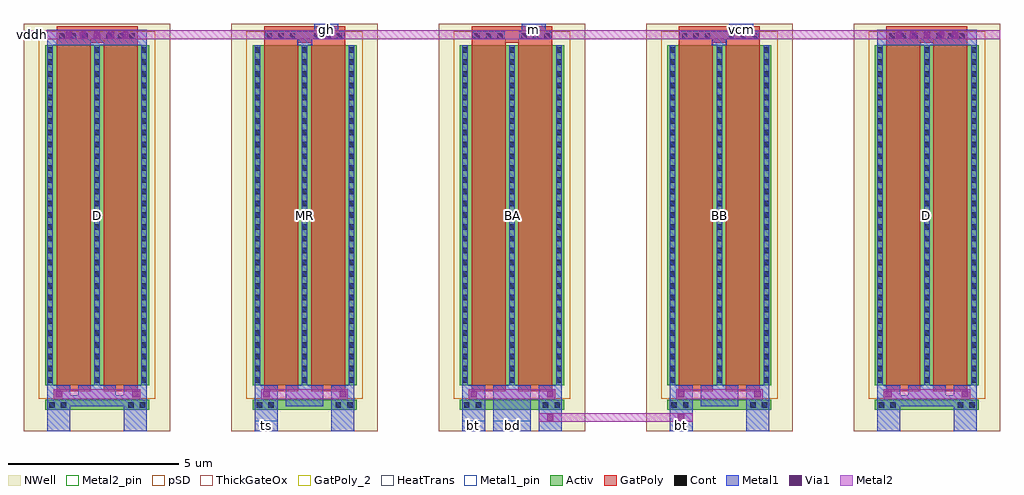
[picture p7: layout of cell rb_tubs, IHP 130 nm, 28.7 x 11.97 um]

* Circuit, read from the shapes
.subckt rb_tubs bd bt gh m ts vcm vddh
XM1 vddh vddh vddh vddh sg13_hv_pmos w=10u l=1u m=4
XM2 gh gh ts ts sg13_hv_pmos w=10u l=1u m=2
XM3 bd m bt bt sg13_hv_pmos w=10u l=1u m=2
XM4 vcm vcm bt bt sg13_hv_pmos w=10u l=1u m=2
.ends

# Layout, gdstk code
import gdstk
lib = gdstk.Library(unit=1e-6, precision=1e-09)
def R(c, l, rs):  # rectangles x0, y0, x1, y1
    for r in rs: c.add(gdstk.rectangle(r[:2], r[2:], *l))
def A(c, l, x, y, w, h, nx, ny, dx, dy):  # array of equal rectangles
    R(c, l, [(x+i*dx, y+j*dy, x+i*dx+w, y+j*dy+h) for i in range(nx) for j in range(ny)])
Activ = (1, 0)
GatPoly = (5, 0)
GatPoly_2 = (5, 2)
Cont = (6, 0)
Metal1 = (8, 0)
Metal1_pin = (8, 2)
Metal2 = (10, 0)
Metal2_pin = (10, 2)
pSD = (14, 0)
Via1 = (19, 0)
NWell = (31, 0)
ThickGateOx = (44, 0)
HeatTrans = (51, 0)

rb_pmoshv_w20_l1_ng2 = lib.new_cell('rb_pmosHV_w20_l1_ng2')
A(rb_pmoshv_w20_l1_ng2, Activ, 0, 0, 0.3, 0.3, 3, 1, 1.38, 0)
R(rb_pmoshv_w20_l1_ng2, Activ, [(0,0,3.06,10)])
R(rb_pmoshv_w20_l1_ng2, GatPoly, [(0.34,-0.18,1.34,10.18), (1.72,-0.18,2.72,10.18)])
R(rb_pmoshv_w20_l1_ng2, GatPoly_2, [(0.34,-0.18,1.34,10.18)])
A(rb_pmoshv_w20_l1_ng2, Cont, 0.07, 0.07, 0.16, 0.16, 3, 4, 1.38, 0.345)
A(rb_pmoshv_w20_l1_ng2, Cont, 0.07, 1.455, 0.16, 0.16, 3, 3, 1.38, 0.345)
A(rb_pmoshv_w20_l1_ng2, Cont, 0.07, 2.495, 0.16, 0.16, 3, 4, 1.38, 0.345)
A(rb_pmoshv_w20_l1_ng2, Cont, 0.07, 3.88, 0.16, 0.16, 3, 3, 1.38, 0.345)
A(rb_pmoshv_w20_l1_ng2, Cont, 0.07, 4.92, 0.16, 0.16, 3, 4, 1.38, 0.345)
A(rb_pmoshv_w20_l1_ng2, Cont, 0.07, 6.305, 0.16, 0.16, 3, 3, 1.38, 0.345)
A(rb_pmoshv_w20_l1_ng2, Cont, 0.07, 7.345, 0.16, 0.16, 3, 4, 1.38, 0.345)
A(rb_pmoshv_w20_l1_ng2, Cont, 0.07, 8.73, 0.16, 0.16, 3, 3, 1.38, 0.345)
A(rb_pmoshv_w20_l1_ng2, Cont, 0.07, 9.77, 0.16, 0.16, 3, 1, 1.38, 0)
A(rb_pmoshv_w20_l1_ng2, Metal1, 0.07, 0, 0.16, 10, 3, 1, 1.38, 0)
R(rb_pmoshv_w20_l1_ng2, Metal1_pin, [(0.07,0,0.23,10), (1.45,0,1.61,10)])
R(rb_pmoshv_w20_l1_ng2, pSD, [(-0.18,-0.4,3.24,10.4)])
R(rb_pmoshv_w20_l1_ng2, NWell, [(-0.62,-0.62,3.68,10.62)])
R(rb_pmoshv_w20_l1_ng2, ThickGateOx, [(-0.62,-0.62,3.68,10.62)])
R(rb_pmoshv_w20_l1_ng2, HeatTrans, [(0.34,-0.18,1.34,10.18), (1.72,-0.18,2.72,10.18)])
rb_pmoshv_w20_l1_ng2.add(gdstk.Label('pmosHV', (0.84,5), layer=63, texttype=0))
rb_pmoshv_w20_l1_ng2.add(gdstk.Label('pmos', (0.84,5), layer=51, texttype=0))
rb_pmoshv_w20_l1_ng2.add(gdstk.Label('pmos', (2.22,5), layer=51, texttype=0))

rb_tub_p20x1 = lib.new_cell('rb_tub_p20x1')
R(rb_tub_p20x1, Activ, [(0,-0.73,3.06,-0.43)])
R(rb_tub_p20x1, GatPoly, [(0.34,10,1.34,10.56), (1.72,10,2.72,10.56), (1.34,10.07,1.72,10.56)])
A(rb_tub_p20x1, Cont, 0.42, 10.18, 0.16, 0.16, 3, 1, 0.34, 0)
A(rb_tub_p20x1, Cont, 1.8, 10.18, 0.16, 0.16, 3, 1, 0.34, 0)
R(rb_tub_p20x1, Cont, [(0.12,-0.66,0.28,-0.5), (0.46,-0.66,0.62,-0.5), (2.44,-0.66,2.6,-0.5), (2.78,-0.66,2.94,-0.5)])
R(rb_tub_p20x1, Metal1, [(0.07,-1.35,0.74,0), (2.32,-1.35,2.99,0), (0.975,-0.62,2.085,0), (0.37,10.18,1.31,10.4), (1.75,10.18,2.69,10.4)])
R(rb_tub_p20x1, Metal2, [(0.26,-0.41,2.8,-0.12)])
R(rb_tub_p20x1, Via1, [(0.31,-0.36,0.5,-0.17), (2.56,-0.36,2.75,-0.17)])
R(rb_tub_p20x1, NWell, [(-0.62,-1.35,3.68,10.62)])
R(rb_tub_p20x1, ThickGateOx, [(-0.62,-1.35,3.68,10.62)])
rb_tub_p20x1.add(gdstk.Reference(rb_pmoshv_w20_l1_ng2, (0,0)))

rb_tubs = lib.new_cell('rb_tubs')
A(rb_tubs, Metal1, 8.54, 11.53, 0.7, 0.44, 3, 1, 6.1, 0)
R(rb_tubs, Metal1, [(13.795,0,14.905,0.73), (0.69,0.73,3.61,1.05), (25.09,0.73,28.01,1.05), (0.69,11.35,3.61,11.795), (8.03,11.35,8.47,11.75), (20.23,11.35,20.67,11.75), (25.09,11.35,28.01,11.795)])
A(rb_tubs, Metal1_pin, 6.79, 0, 0.67, 0.3, 3, 1, 6.1, 0)
A(rb_tubs, Metal1_pin, 8.54, 11.67, 0.7, 0.3, 3, 1, 6.1, 0)
R(rb_tubs, Metal1_pin, [(13.795,0,14.905,0.3)])
R(rb_tubs, Metal2, [(15.14,0.27,19.66,0.53), (0,11.52,28.7,11.78)])
R(rb_tubs, Metal2_pin, [(0,11.52,0.5,11.78)])
A(rb_tubs, Via1, 1.235, 11.555, 0.19, 0.19, 5, 1, 0.41, 0)
A(rb_tubs, Via1, 25.635, 11.555, 0.19, 0.19, 5, 1, 0.41, 0)
R(rb_tubs, Via1, [(15.38,0.305,15.57,0.495), (19.23,0.305,19.42,0.495)])
rb_tubs.add(gdstk.Reference(rb_tub_p20x1, (0.62,1.35)))
rb_tubs.add(gdstk.Reference(rb_tub_p20x1, (6.72,1.35)))
rb_tubs.add(gdstk.Reference(rb_tub_p20x1, (12.82,1.35)))
rb_tubs.add(gdstk.Reference(rb_tub_p20x1, (18.92,1.35)))
rb_tubs.add(gdstk.Reference(rb_tub_p20x1, (25.02,1.35)))
rb_tubs.add(gdstk.Label('D', (2.15,6.35), layer=63, texttype=0))
rb_tubs.add(gdstk.Label('MR', (8.25,6.35), layer=63, texttype=0))
rb_tubs.add(gdstk.Label('BA', (14.35,6.35), layer=63, texttype=0))
rb_tubs.add(gdstk.Label('BB', (20.45,6.35), layer=63, texttype=0))
rb_tubs.add(gdstk.Label('D', (26.55,6.35), layer=63, texttype=0))
rb_tubs.add(gdstk.Label('vddh', (0.25,11.65), layer=10, texttype=25))
rb_tubs.add(gdstk.Label('gh', (8.89,11.82), layer=8, texttype=25))
rb_tubs.add(gdstk.Label('ts', (7.125,0.15), layer=8, texttype=25))
rb_tubs.add(gdstk.Label('bd', (14.35,0.15), layer=8, texttype=25))
rb_tubs.add(gdstk.Label('m', (14.99,11.82), layer=8, texttype=25))
rb_tubs.add(gdstk.Label('bt', (13.225,0.15), layer=8, texttype=25))
rb_tubs.add(gdstk.Label('vcm', (21.09,11.82), layer=8, texttype=25))
rb_tubs.add(gdstk.Label('bt', (19.325,0.15), layer=8, texttype=25))

lib.write_gds('rb_tubs.gds')
